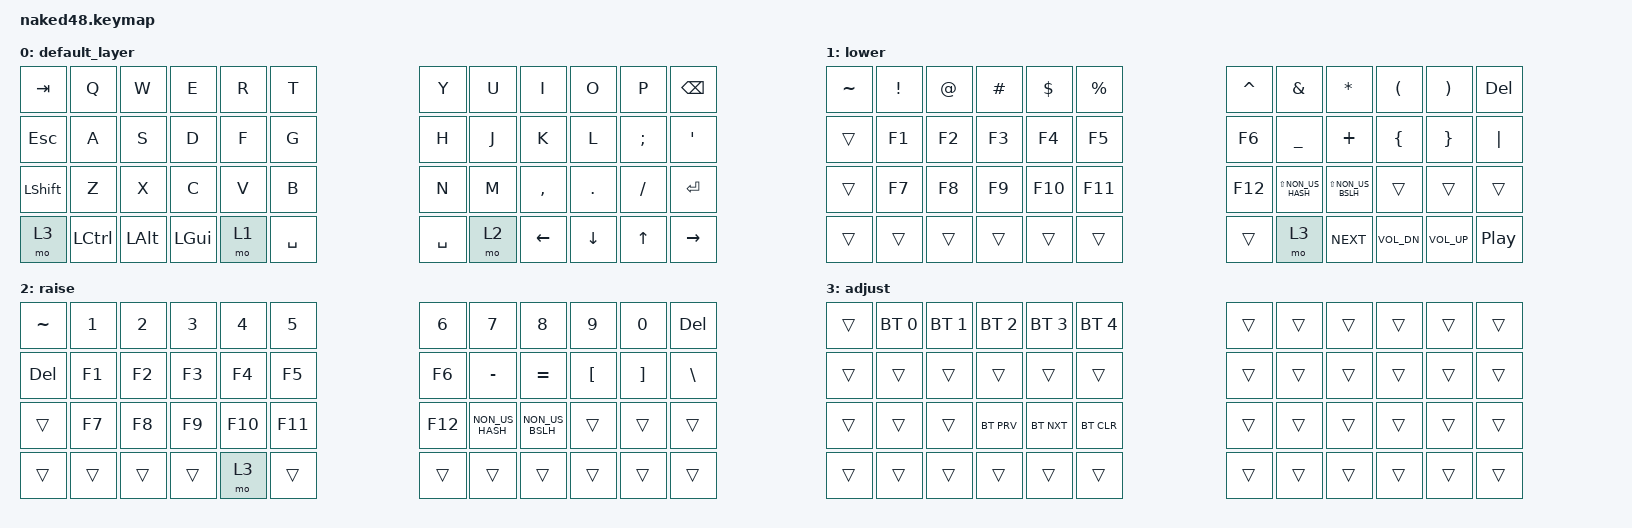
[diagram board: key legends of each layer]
/*
 * Copyright (c) 2020 The ZMK Contributors
 *
 * SPDX-License-Identifier: MIT
 */

#include <behaviors.dtsi>
#include <dt-bindings/zmk/keys.h>
#include <dt-bindings/zmk/bt.h>
#include <dt-bindings/zmk/outputs.h>


/ {
    keymap {
        compatible = "zmk,keymap";

        default_layer {
            // ----------------------------------------------------------------------------------------------------------
            // | TAB   |  Q   |  W   |  E   |  R   |  T   |-------|-------|   Y   |  U    |  I   |  O   |   P   | BSPC  |
            // | ESC   |  A   |  S   |  D   |  F   |  G   |-------|-------|   H   |  J    |  K   |  L   |   ;   |  '    |
            // | SHIFT |  Z   |  X   |  C   |  V   |  B   |-------|-------|   N   |  M    |  ,   |  .   |   /   | ENTER |
            // |-------|ADJUST| LCTL | LALT | LGUI | LOWR | SPACE | SPACE |  RAIS | LARW  | DARW | UARW | RARW  |-------|


            bindings = <
                &kp TAB    &kp Q  &kp W     &kp E    &kp R    &kp T                     &kp Y  &kp U    &kp I     &kp O   &kp P     &kp BSPC
                &kp ESC    &kp A  &kp S     &kp D    &kp F    &kp G                     &kp H  &kp J    &kp K     &kp L   &kp SEMI  &kp SQT
                &kp LSHFT  &kp Z  &kp X     &kp C    &kp V    &kp B                     &kp N  &kp M    &kp COMMA &kp DOT &kp FSLH  &kp RET
                           &mo 3  &kp LCTRL &kp LALT &kp LGUI &mo 1 &kp SPACE &kp SPACE &mo 2  &kp LEFT &kp DOWN  &kp UP  &kp RIGHT
            >;
        };

        lower {
            // ----------------------------------------------------------------------------------------------------------
            // |   ~   |  !   |  @   |  #   |  $   |  %   |-------|-------|   ^   |   &   |  *   |  (   |   )   |  DEL  |
            // | ESC   |  F1  |  F2  |  F3  |  F4  |  F5  |-------|-------|   F6  |   _   |  +   |  {   |   }   |   |   |
            // | SHIFT |  F7  |  F8  |  F9  |  F10 |  F11 |-------|-------|   F12 | LS(#) |LS(|) |      |       | ENTER |
            // |-------|      |      |      |      |      |       |       |       | NEXT  | Vol- | Vol+ | PLAY  |-------|

            bindings = <
                &kp TILDE &kp EXCL &kp AT   &kp HASH &kp DLLR  &kp PRCNT               &kp CARET &kp AMPS            &kp ASTRK           &kp LPAR     &kp RPAR         &kp DEL
                &trans    &kp F1   &kp F2   &kp F3   &kp F4    &kp F5                  &kp F6    &kp UNDER           &kp PLUS            &kp LBRC     &kp RBRC         &kp PIPE
                &trans    &kp F7   &kp F8   &kp F9   &kp F10   &kp F11                 &kp F12   &kp LS(NON_US_HASH) &kp LS(NON_US_BSLH) &trans       &trans           &trans
                          &trans   &trans   &trans   &trans    &trans    &trans &trans &mo 3     &kp C_NEXT          &kp C_VOL_DN        &kp C_VOL_UP &kp C_PLAY_PAUSE
            >;
        };

        raise {
            // ----------------------------------------------------------------------------------------------------------
            // |   ~   |  1   |  2   |  3   |  4   |  5   |-------|-------|  6    |   7   |  8   |  9   |   0   |  DEL  |
            // |  DEL  |  F1  |  F2  |  F3  |  F4  |  F5  |-------|-------|  F6   |   -   |  =   |  [   |   ]   |   \   |
            // | SHIFT |  F7  |  F8  |  F9  |  F10 |  F11 |-------|-------|  F12  |   #   |  |   |      |       | ENTER |
            // |-------|      |      |      |      |      |       |       |       |       |      |      |       |-------|

            bindings = <
                &kp TILDE &kp N1   &kp N2   &kp N3   &kp N4    &kp N5                &kp N6    &kp N7          &kp N8          &kp N9       &kp N0           &kp DEL
                &kp DEL   &kp F1   &kp F2   &kp F3   &kp F4    &kp F5                &kp F6    &kp MINUS       &kp EQUAL       &kp LBKT     &kp RBKT         &kp BSLH
                &trans    &kp F7   &kp F8   &kp F9   &kp F10   &kp F11               &kp F12   &kp NON_US_HASH &kp NON_US_BSLH &trans       &trans           &trans
                          &trans   &trans   &trans   &trans    &mo 3   &trans &trans &trans    &trans          &trans          &trans       &trans
            >;
        };

        adjust {
            // ----------------------------------------------------------------------------------------------------------
            // |tog(4)|  F2  |  F3  |  F4  |  F5  |  F6  |------|------|  F7  |  F8  |  F9  |  F10 |  F11 |    F12    |
            // |      |  NA  |  NA  |  NA  |  NA  |  NA  |------|------|  NA  |  NA  |  NA  |  NA  |  NA  |LALT(PRTSN)|
            // |      |  NA  |  NA  |  NA  |  NA  |  NA  |------|------|  NA  |  NA  |  NA  |  NA  |  NA  |   PRTSN   |
            // |      |  NA  |  NA  |  NA  |  NA  |  NA  |------|------|  NA  |  NA  |  NA  |  NA  |  NA  |LCTRL(DEL) |
            // |------|      |      |      |      |      |BOOTLD|BOOTLD|      |      |      |      |      |-----------|
            // --------------------------------------------------------------------------------------------------------------
            // |tog(4) |  F2    |   F3   |   F4   |   F5   |   F6   |-------|-------|  F7  |  F8  |  F9  | F10 | F11 |      |
            // |out tog|BT_SEL 0|BT_SEL 1|BT_SEL 2|BT_SEL 3|BT_SEL 4|-------|-------|      |      |      |     |     |      |
            // |       |        |        |        |        |        |-------|-------|      |      |      |     |     |      |
            // |       |        |        |BT_PRV  |BT_NXT  |BT_CLR  |-------|-------|      |      |      |     |     |      |
            // |-------|        |        |        |        |        |       |       |      |      |      |     |     |------|

            bindings = <
                &trans    &bt BT_SEL 0 &bt BT_SEL 1 &bt BT_SEL 2 &bt BT_SEL 3 &bt BT_SEL 4               &trans  &trans  &trans  &trans  &trans  &trans
                &trans    &trans       &trans       &trans       &trans       &trans                     &trans  &trans  &trans  &trans  &trans  &trans
                &trans    &trans       &trans       &bt BT_PRV   &bt BT_NXT   &bt BT_CLR                 &trans  &trans  &trans  &trans  &trans  &trans
                          &trans       &trans       &trans       &trans       &trans       &trans &trans &trans  &trans  &trans  &trans  &trans
            >;
        };
    };
};
